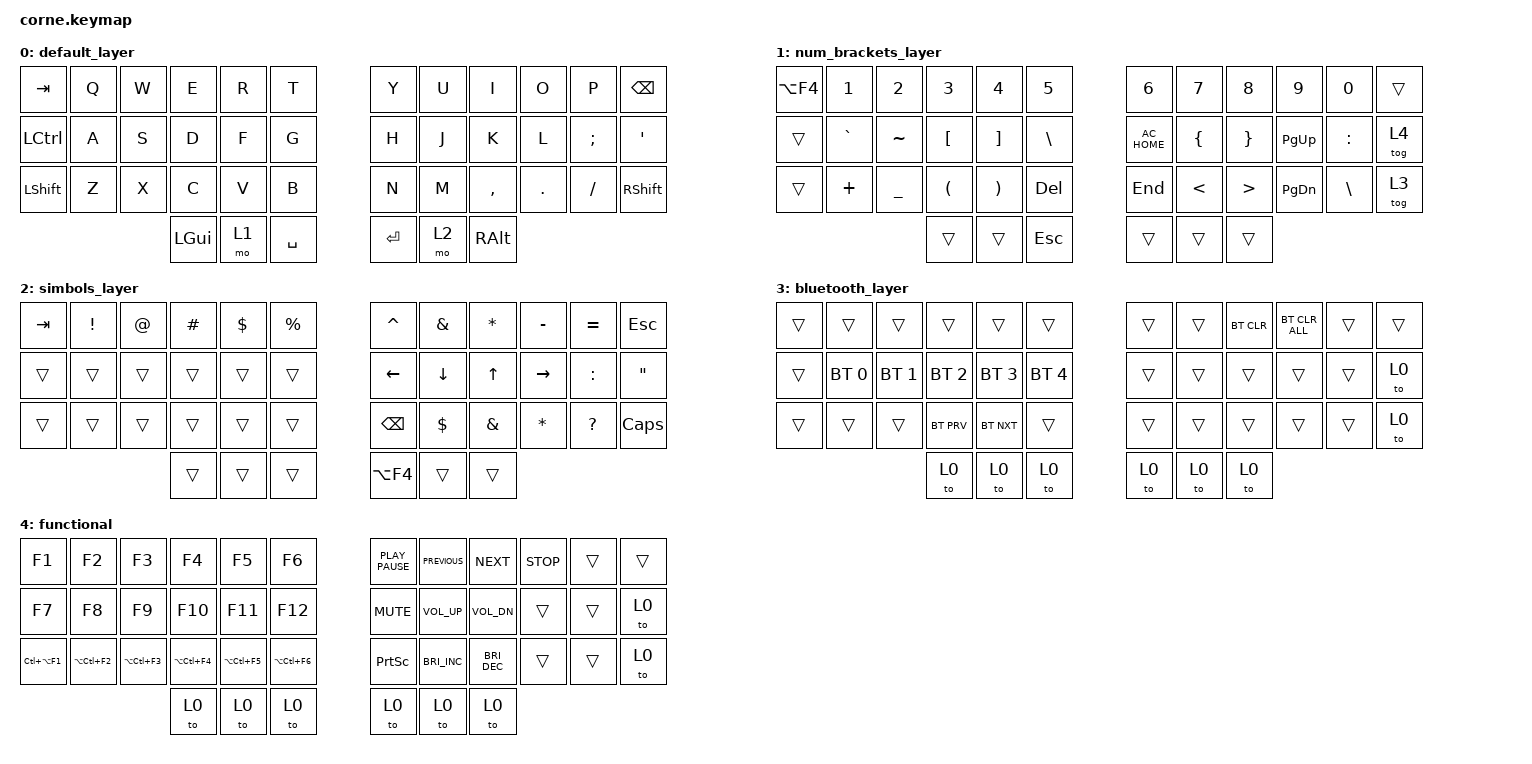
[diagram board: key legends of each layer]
/*
 * Copyright (c) 2020 The ZMK Contributors
 *
 * SPDX-License-Identifier: MIT
 */

#include <behaviors.dtsi>
#include <dt-bindings/zmk/bt.h>
#include <dt-bindings/zmk/keys.h>

/ {
    keymap {
        compatible = "zmk,keymap";

        default_layer {
            // -----------------------------------------------------------------------------------------
            // |  TAB |  Q  |  W  |  E  |  R  |  T  |   |  Y  |  U   |  I  |  O  |  P  | BKSP |
            // | CTRL |  A  |  S  |  D  |  F  |  G  |   |  H  |  J   |  K  |  L  |  ;  |  '   |
            // | SHFT |  Z  |  X  |  C  |  V  |  B  |   |  N  |  M   |  ,  |  .  |  /  | ESC  |
            //                    | GUI | LWR | SPC |   | ENT | RSE  | ALT |

            bindings = <
&kp TAB    &kp Q  &kp W  &kp E     &kp R  &kp T        &kp Y    &kp U  &kp I      &kp O    &kp P     &kp BSPC
&kp LCTRL  &kp A  &kp S  &kp D     &kp F  &kp G        &kp H    &kp J  &kp K      &kp L    &kp SEMI  &kp SQT
&kp LSHFT  &kp Z  &kp X  &kp C     &kp V  &kp B        &kp N    &kp M  &kp COMMA  &kp DOT  &kp FSLH  &kp RIGHT_SHIFT
                         &kp LGUI  &mo 1  &kp SPACE    &kp RET  &mo 2  &kp RALT
            >;
        };

        num_brackets_layer {
            // -----------------------------------------------------------------------------------------
            // |  TAB |  1  |  2  |  3  |  4  |  5  |   |  6  |  7  |  8  |  9  |  0  | BKSP |
            // | BTCLR| BT1 | BT2 | BT3 | BT4 | BT5 |   | LFT | DWN |  UP | RGT |     |      |
            // | SHFT |     |     |     |     |     |   |     |     |     |     |     |      |
            //                    | GUI |     | SPC |   | ENT |     | ALT |

            bindings = <
&kp LA(F4)  &kp N1     &kp N2          &kp N3                &kp N4                 &kp N5           &kp N6         &kp N7          &kp N8            &kp N9         &kp N0         &trans
&trans      &kp GRAVE  &kp TILDE       &kp LEFT_BRACKET      &kp RIGHT_BRACKET      &kp BACKSLASH    &kp C_AC_HOME  &kp LEFT_BRACE  &kp RIGHT_BRACE   &kp PAGE_UP    &kp COLON      &tog 4
&trans      &kp PLUS   &kp UNDERSCORE  &kp LEFT_PARENTHESIS  &kp RIGHT_PARENTHESIS  &kp DELETE       &kp END        &kp LESS_THAN   &kp GREATER_THAN  &kp PAGE_DOWN  &kp BACKSLASH  &tog 3
                                       &trans                &trans                 &kp ESCAPE       &trans         &trans          &trans
            >;
        };

        simbols_layer {
            // -----------------------------------------------------------------------------------------
            // |  TAB |  !  |  @  |  #  |  $  |  %  |   |  ^  |  &  |  *  |  (  |  )  | BKSP |
            // | CTRL |     |     |     |     |     |   |  -  |  =  |  [  |  ]  |  \  |  `   |
            // | SHFT |     |     |     |     |     |   |  _  |  +  |  {  |  }  | "|" |  ~   |
            //                    | GUI |     | SPC |   | ENT |     | ALT |

            bindings = <
&kp TAB  &kp EXCL  &kp AT  &kp HASH  &kp DLLR  &kp PRCNT    &kp CARET      &kp AMPS    &kp ASTRK      &kp MINUS     &kp EQUAL     &kp ESCAPE
&trans   &trans    &trans  &trans    &trans    &trans       &kp LEFT       &kp DOWN    &kp UP_ARROW   &kp RIGHT     &kp COLON     &kp DOUBLE_QUOTES
&trans   &trans    &trans  &trans    &trans    &trans       &kp BACKSPACE  &kp DOLLAR  &kp AMPERSAND  &kp ASTERISK  &kp QUESTION  &kp CLCK
                           &trans    &trans    &trans       &kp LA(F4)     &trans      &trans
            >;
        };

        bluetooth_layer {
            bindings = <
&trans  &trans        &trans        &trans        &trans        &trans          &trans  &trans  &bt BT_CLR  &bt BT_CLR_ALL  &trans  &trans
&trans  &bt BT_SEL 0  &bt BT_SEL 1  &bt BT_SEL 2  &bt BT_SEL 3  &bt BT_SEL 4    &trans  &trans  &trans      &trans          &trans  &to 0
&trans  &trans        &trans        &bt BT_PRV    &bt BT_NXT    &trans          &trans  &trans  &trans      &trans          &trans  &to 0
                                    &to 0         &to 0         &to 0           &to 0   &to 0   &to 0
            >;
        };

        functional {
            bindings = <
&kp F1          &kp F2          &kp F3          &kp F4          &kp F5          &kp F6            &kp K_PLAY_PAUSE  &kp K_PREVIOUS        &kp K_NEXT            &kp K_STOP  &trans  &trans
&kp F7          &kp F8          &kp F9          &kp F10         &kp F11         &kp F12           &kp K_MUTE        &kp C_VOLUME_UP       &kp C_VOL_DN          &trans      &trans  &to 0
&kp LC(LA(F1))  &kp LA(LC(F2))  &kp LA(LC(F3))  &kp LA(LC(F4))  &kp LA(LC(F5))  &kp LA(LC(F6))    &kp PRINTSCREEN   &kp C_BRIGHTNESS_INC  &kp C_BRIGHTNESS_DEC  &trans      &trans  &to 0
                                                &to 0           &to 0           &to 0             &to 0             &to 0                 &to 0
            >;
        };
    };
};
